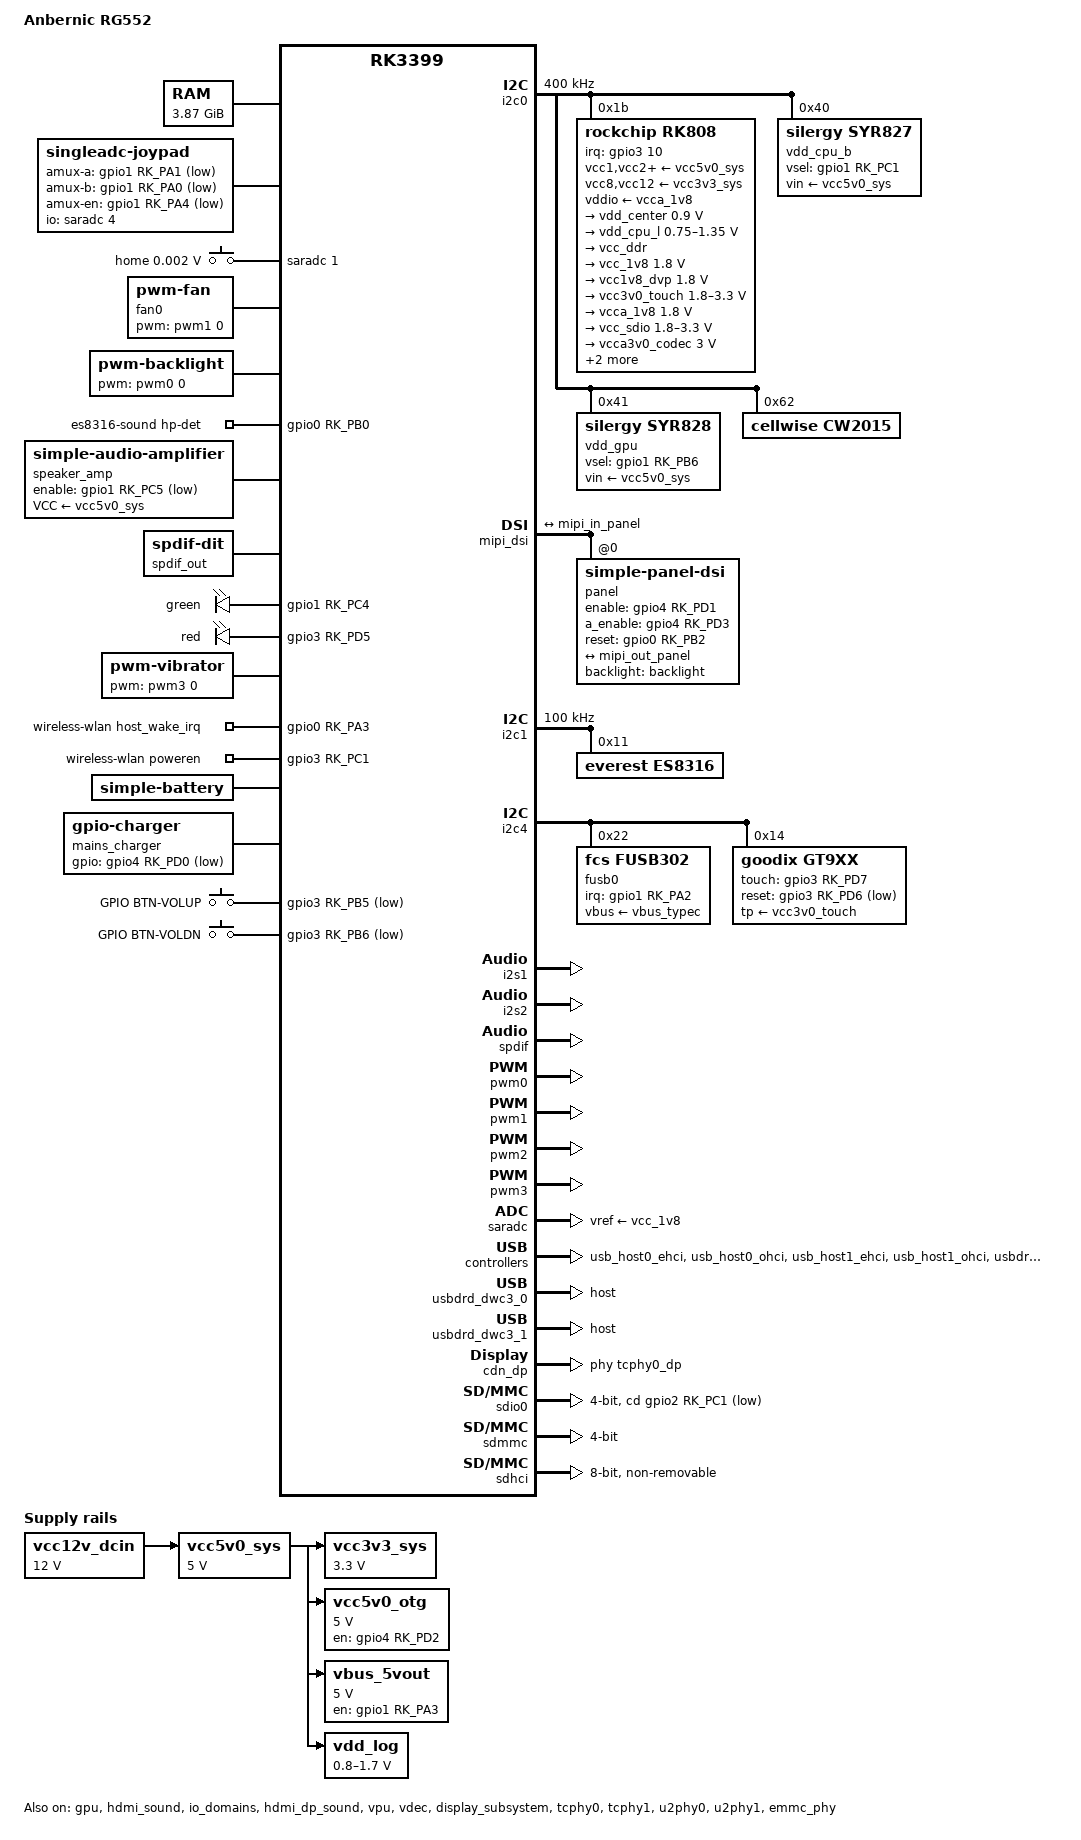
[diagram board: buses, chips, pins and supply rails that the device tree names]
// SPDX-License-Identifier: (GPL-2.0+ OR MIT)
/*
 * Copyright (c) 2017 Fuzhou Rockchip Electronics Co., Ltd.
 * Copyright (c) 2018 Akash Gajjar <Akash_Gajjar@mentor.com>
 * Copyright (c) 2019 Katsuhiro Suzuki <katsuhiro@katsuster.net>
 * Copyright (c) 2021 Romain Tisserand <romain.tisserand@gmail.com>
 */

/dts-v1/;
#include <dt-bindings/input/linux-event-codes.h>
#include <dt-bindings/display/drm_mipi_dsi.h>
#include <dt-bindings/pinctrl/rockchip.h>
#include <dt-bindings/display/rockchip_vop.h>
#include <dt-bindings/usb/pd.h>
#include <dt-bindings/pwm/pwm.h>
#include "rk3399.dtsi"
#include "rk3399-android.dtsi"
#include "rk3399-opp.dtsi"

/ {
	model = "Anbernic RG552";
	compatible = "anbernic,rg552", "rockchip,android", "rockchip,rk3399";

	aliases {
		mmc0 = &sdio0;
		mmc1 = &sdmmc;
		mmc2 = &sdhci;
	};

	memory {
		device_type = "memory";
		reg = <0x0 0x00200000 0x0 0xf7e00000>;
	};

	
	/* first 64k(0xff8c0000~0xff8d0000) for ddr and suspend */
	iram: sram@ff8d0000 {
		compatible = "mmio-sram";
		reg = <0x0 0xff8d0000 0x0 0x20000>; /* 128k */
	};

	joypad: rg552-joypad {
		compatible = "singleadc-joypad";

		joypad-name = "retrogame_joypad";
		joypad-product = <0x1101>;
		joypad-revision = <0x0100>;

		status = "okay";

		/* gpio pincontrol setup */
		pinctrl-names = "default";
		pinctrl-0 = <&btn_pins>;

		/* Analog mux define */
		io-channel-names = "amux_adc";
		io-channels = <&saradc 4>;

		/* adc mux channel count */
		amux-count = <4>;
		/* adc mux select(a,b) gpio */
		amux-a-gpios = <&gpio1 RK_PA1 GPIO_ACTIVE_LOW>;
		amux-b-gpios = <&gpio1 RK_PA0 GPIO_ACTIVE_LOW>;
		/* adc mux enable gpio */
		amux-en-gpios = <&gpio1 RK_PA4 GPIO_ACTIVE_LOW>;

		/* adc calculate scale */
		button-adc-scale = <2>;

		/* adc deadzone range  */
		button-adc-deadzone = <64>;

		/*
		  specifies fuzz value that is used to filter noise from
		  the event stream.
		*/
		button-adc-fuzz = <32>;
		button-adc-flat = <32>;

		/*
		  Analog Stick data tuning value(precent)
		  p = positive direction, n = negative direction
		  report value = (real_adc_data * tuning_value) / 100
		*/
		abs_x-p-tuning = <300>;
		abs_x-n-tuning = <300>;

		abs_y-p-tuning = <300>;
		abs_y-n-tuning = <300>;

		abs_rx-p-tuning = <300>;
		abs_rx-n-tuning = <300>;

		abs_ry-p-tuning = <300>;
		abs_ry-n-tuning = <300>;

		/* poll device interval (ms), adc read interval */
		poll-interval = <10>;

		/* required for RG552(invert) */
		invert-absx;
		invert-absy;

		/* gpio button auto repeat set value : default disable */
		/*
			autorepeat;
		*/

                /*
                               *** RG552 switch layout ***
                |-------------------------------------------------------|
                | sw15(b4) sw21(b6)                   sw20(b7) sw16(b5) |
                |-------------------------------------------------------|
                |        sw19(b12)|-------------------| sw22(b13)       |
                |                 |                   |                 |
                |     sw1(b8)     |                   |     sw8(b2)     |
                |sw3(b10) sw4(b11)|    LCD Display    | sw7(b3) sw5(b1) |
                |     sw2(b9)     |                   |     sw6(b0)     |
                |                 |                   |                 |
                |  sw11(b14)      |-------------------|      sw12(b15)  |
                |                                                       |
                |-------------------------------------------------------|
                */

		sw1 {
		        gpios = <&gpio3 RK_PA0 GPIO_ACTIVE_LOW>;
		        label = "GPIO DPAD-UP";
		        linux,code = <103>;
		};
		sw2 {
		        gpios = <&gpio3 RK_PA1 GPIO_ACTIVE_LOW>;
		        label = "GPIO DPAD-DOWN";
		        linux,code = <108>;
		};
		sw3 {
                        gpios = <&gpio3 RK_PA3 GPIO_ACTIVE_LOW>;
		        label = "GPIO DPAD-LEFT";
		        linux,code = <105>;
		};
		sw4 {
                        gpios = <&gpio3 RK_PA2 GPIO_ACTIVE_LOW>;
		        label = "GPIO DPAD-RIGHT";
		        linux,code = <106>;
		};
		sw5 {
		        gpios = <&gpio3 RK_PA6 GPIO_ACTIVE_LOW>;
		        label = "GPIO KEY BTN-A";
		        linux,code = <304>;
		};
		sw6 {
		        gpios = <&gpio3 RK_PA7 GPIO_ACTIVE_LOW>;
		        label = "GPIO BTN-B";
		        linux,code = <305>;
		};
		sw7 {
		        gpios = <&gpio3 RK_PA5 GPIO_ACTIVE_LOW>;
		        label = "GPIO BTN-Y";
                        linux,code = <308>;
		};
                sw8 {
		        gpios = <&gpio3 RK_PA4 GPIO_ACTIVE_LOW>;
		        label = "GPIO BTN-X";
		        linux,code = <307>;
		};
		sw11 {
                        gpios = <&gpio3 RK_PB3 GPIO_ACTIVE_LOW>;
                        label = "GPIO F3";
                        linux,code = <317>;
		};
		sw12 {
                        gpios = <&gpio3 RK_PB4 GPIO_ACTIVE_LOW>;
                        label = "GPIO F4";
                        linux,code = <318>;
		};

                sw15 {
		        gpios = <&gpio3 RK_PD0 GPIO_ACTIVE_LOW>;
                        label = "GPIO TOP-LEFT";
		        linux,code = <310>;
		};
                sw16 {
		        gpios = <&gpio3 RK_PD2 GPIO_ACTIVE_LOW>;
                        label = "GPIO TOP-RIGHT";
		        linux,code = <311>;
		};
                sw19 {
                        gpios = <&gpio3 RK_PB1 GPIO_ACTIVE_LOW>;
                        label = "GPIO F1";
                        linux,code = <314>;
		};
                sw20 {
		        gpios = <&gpio3 RK_PD3 GPIO_ACTIVE_LOW>;
                        label = "GPIO TOP-RIGHT2";
		        linux,code = <313>;
		};
                sw21 {
                        gpios = <&gpio3 RK_PD1 GPIO_ACTIVE_LOW>;
                        label = "GPIO TOP-LEFT2";
                        linux,code = <312>;
		};
                sw22 {
                        gpios = <&gpio3 RK_PB0 GPIO_ACTIVE_LOW>;
                        label = "GPIO F2";
                        linux,code = <315>;
		};
        };

	adc_keys: adc-keys {
		compatible = "adc-keys";
		io-channels = <&saradc 1>;
		io-channel-names = "buttons";
		keyup-threshold-microvolt = <1800000>;
		poll-interval = <100>;
		
		home-key {
			linux,code = <316>;
			label = "home";
			press-threshold-microvolt = <1750>;
		};
	};

	fan0: pwm-fan {
		compatible = "pwm-fan";
		pwms = <&pwm1 0 10000 1>;
		cooling-min-state = <0>;
		cooling-max-state = <3>;		
		#cooling-cells = <2>;
		cooling-levels = <0 80 170 230>;
	};

	backlight: backlight {
		compatible = "pwm-backlight";
		//power-supply = <&vcc_bl>;
		pwms = <&pwm0 0 25000 0>;
		brightness-levels = <
			  0   1   2   3   4   5   6   7
			  8   9  10  11  12  13  14  15
			 16  17  18  19  20  21  22  23
			 24  25  26  27  28  29  30  31
			 32  33  34  35  36  37  38  39
			 40  41  42  43  44  45  46  47
			 48  49  50  51  52  53  54  55
			 56  57  58  59  60  61  62  63
			 64  65  66  67  68  69  70  71
			 72  73  74  75  76  77  78  79
			 80  81  82  83  84  85  86  87
			 88  89  90  91  92  93  94  95
			 96  97  98  99 100 101 102 103
			104 105 106 107 108 109 110 111
			112 113 114 115 116 117 118 119
			120 121 122 123 124 125 126 127
			128 129 130 131 132 133 134 135
			136 137 138 139 140 141 142 143
			144 145 146 147 148 149 150 151
			152 153 154 155 156 157 158 159
			160 161 162 163 164 165 166 167
			168 169 170 171 172 173 174 175
			176 177 178 179 180 181 182 183
			184 185 186 187 188 189 190 191
			192 193 194 195 196 197 198 199
			200 201 202 203 204 205 206 207
			208 209 210 211 212 213 214 215
			216 217 218 219 220 221 222 223
			224 225 226 227 228 229 230 231
			232 233 234 235 236 237 238 239
			240 241 242 243 244 245 246 247
			248 249 250 251 252 253 254 255>;
		default-brightness-level = <200>;
	};

	es8316-sound {
		compatible = "simple-audio-card";
		simple-audio-card,format = "i2s";
		simple-audio-card,name = "rockchip,es8316-codec";
		simple-audio-card,mclk-fs = <256>;

		simple-audio-card,widgets =
			"Microphone", "Mic Jack",
			"Headphone", "Headphones",
			"Speaker", "Speaker";
		simple-audio-card,routing =
			"MIC1", "Mic Jack",
			"Headphones", "HPOL",
			"Headphones", "HPOR",
			"Speaker Amplifier INL", "HPOL",
			"Speaker Amplifier INR", "HPOR",
			"Speaker", "Speaker Amplifier OUTL",
			"Speaker", "Speaker Amplifier OUTR";

	        simple-audio-card,hp-det-gpio = <&gpio0 RK_PB0 GPIO_ACTIVE_HIGH>;
		simple-audio-card,aux-devs = <&speaker_amp>;
		simple-audio-card,pin-switches = "Speaker";	        			
			
		simple-audio-card,cpu {
            		sound-dai = <&i2s1>;
			system-clock-frequency = <11289600>;
		};
		
		simple-audio-card,codec {
			sound-dai = <&es8316>;
			system-clock-frequency = <11289600>;
		};
	};

	speaker_amp: speaker-amplifier {
		compatible = "simple-audio-amplifier";
	//	pinctrl-names = "default";
	//	pinctrl-0 = <&spk_en>;		
		enable-gpios = <&gpio1 RK_PC5 GPIO_ACTIVE_LOW>;
		sound-name-prefix = "Speaker Amplifier";
		VCC-supply = <&vcc5v0_sys>;
	};

	spdif_sound: spdif-sound {
		status = "disabled";
		compatible = "simple-audio-card";
		simple-audio-card,name = "ROCKCHIP,SPDIF";
		simple-audio-card,cpu {
			sound-dai = <&spdif>;
		};
		simple-audio-card,codec {
			sound-dai = <&spdif_out>;
		};
	};

	spdif_out: spdif-out {
		status = "okay";
		compatible = "linux,spdif-dit";
		#sound-dai-cells = <0>;
	};

	dp_sound: dp-sound {
		status = "okay";
		compatible = "rockchip,cdndp-sound";
		rockchip,cpu = <&spdif>;
		rockchip,codec = <&cdn_dp 1>;
	};
	
/*
	rk_headset: rk-headset {
		compatible = "rockchip_headset";
		headset_gpio = <&gpio0 RK_PB0 GPIO_ACTIVE_HIGH>;
		pinctrl-names = "default";
		pinctrl-0 = <&hp_det>;
		io-channels = <&saradc 2>;
	};
*/
	leds: gpio-leds {
			compatible = "gpio-leds";
			//pinctrl-names = "default";
			//pinctrl-0 =<&leds_gpio>;

			led@1 {
					gpios = <&gpio1 RK_PC4 GPIO_ACTIVE_HIGH>;
					label = "green";
					default-state= "on";
				//	retain-state-suspended;
			};
			
			led@2 {
					gpios = <&gpio3 RK_PD5 GPIO_ACTIVE_HIGH>;
					label = "red";
					default-state= "off";
				//	retain-state-suspended;
			};
			
	};

	vibrator {
		compatible = "pwm-vibrator";
		pwms = <&pwm3 0 1000000 0>;
		pwm-names = "enable";
		direction-duty-cycle-ns = <500000>;		
	};

	wireless-wlan {
		compatible = "wlan-platdata";
		rockchip,grf = <&grf>;
		wifi_chip_type = "rtl8188fu";
		pinctrl-names = "default";
		pinctrl-0 = <&wifi_enable_h>;
		keep_wifi_power_on;
		WIFI,host_wake_irq = <&gpio0 RK_PA3 GPIO_ACTIVE_HIGH>;
		WIFI,poweren_gpio = <&gpio3 RK_PC1 GPIO_ACTIVE_HIGH>;
		status = "okay";
	};
	
	bat: battery {
		compatible = "simple-battery";
		charge-full-design-microamp-hours = <6400000>;
		voltage-max-design-microvolt = <4350000>;
		voltage-min-design-microvolt = <3400000>;
                constant-charge-current-max-microamp = <1500000>;
                constant-charge-voltage-max-microvolt = <4350000>;
                factory-internal-resistance-micro-ohms = <150000>;
                resistance-temp-table = <20 150>;
		
                ocv-capacity-celsius = <20>;
                ocv-capacity-table-0 =	<4308000 100>,<4217000 95>,
					<4161000 90>,<4110000 85>,
					<4066000 80>,<4007000 75>,
					<3974000 70>,<3937000 65>,
					<3896000 60>,<3853000 55>,
					<3827000 50>,<3807000 45>,
					<3793000 40>,<3780000 35>,
					<3768000 30>,<3756000 25>,
					<3740000 20>,<3716000 15>,
					<3689000 10>,<3675000 5>,
					<3400000 0>;
	};

	mains_charger: dc-charger {
		compatible = "gpio-charger";
		charger-type = "mains";
		gpios = <&gpio4 RK_PD0 GPIO_ACTIVE_LOW>;
		pinctrl-names = "default";
		pinctrl-0 = <&dc_det_pin>;
		monitored-battery = <&bat>;
	};

	vcc12v_dcin: vcc12v-dcin {
		compatible = "regulator-fixed";
		regulator-name = "vcc12v_dcin";
		regulator-always-on;
		regulator-boot-on;
		regulator-min-microvolt = <12000000>;
		regulator-max-microvolt = <12000000>;
	};

	vcc3v3_sys: vcc3v3-sys {
		compatible = "regulator-fixed";
		regulator-name = "vcc3v3_sys";
		regulator-always-on;
		regulator-boot-on;
		regulator-min-microvolt = <3300000>;
		regulator-max-microvolt = <3300000>;
		vin-supply = <&vcc5v0_sys>;
	};

	vcc5v0_sys: vcc5v0-sys {
		compatible = "regulator-fixed";
		regulator-name = "vcc5v0_sys";
		regulator-always-on;
		regulator-boot-on;
		regulator-min-microvolt = <5000000>;
		regulator-max-microvolt = <5000000>;
		vin-supply = <&vcc12v_dcin>;
	};

	/* USB 3 port power supply regulator  */
	vcc5v0_otg: vcc5v0-otg {
		compatible = "regulator-fixed";
		enable-active-high;
		gpio = <&gpio4 RK_PD2 GPIO_ACTIVE_HIGH>;
		pinctrl-names = "default";
		pinctrl-0 = <&vcc5v0_host_en>;
		regulator-name = "vcc5v0_otg";
		regulator-always-on;
		regulator-min-microvolt = <5000000>;
		regulator-max-microvolt = <5000000>;
		vin-supply = <&vcc5v0_sys>;

		regulator-state-mem {
			regulator-off-in-suspend;
		};
	};


	/* Regulators supplied by vcc5v0_usb */
	/* Type C port power supply regulator */
	vbus_5vout: vbus_typec: vbus-5vout {
		compatible = "regulator-fixed";
		enable-active-high;
		gpio = <&gpio1 RK_PA3 GPIO_ACTIVE_HIGH>;
		pinctrl-names = "default";
		pinctrl-0 = <&vcc5v0_typec0_en_pin>;
		regulator-name = "vbus_5vout";
		regulator-min-microvolt = <5000000>;
		regulator-max-microvolt = <5000000>;
		vin-supply = <&vcc5v0_sys>;

		regulator-state-mem {
			regulator-off-in-suspend;
		};
	};

	vdd_log: vdd-log {
		compatible = "pwm-regulator";
		pwms = <&pwm2 0 25000 1>;
		rockchip,pwm_id= <2>;
		rockchip,pwm_voltage = <900000>;		
		regulator-name = "vdd_log";
		regulator-always-on;
		regulator-boot-on;
		regulator-min-microvolt = <800000>;
		regulator-max-microvolt = <1700000>;
		vin-supply = <&vcc5v0_sys>;
	};
};

&cpu_l0 {
	cpu-supply = <&vdd_cpu_l>;
};

&cpu_l1 {
	cpu-supply = <&vdd_cpu_l>;
};

&cpu_l2 {
	cpu-supply = <&vdd_cpu_l>;
};

&cpu_l3 {
	cpu-supply = <&vdd_cpu_l>;
};

&cpu_b0 {
	cpu-supply = <&vdd_cpu_b>;
};

&cpu_b1 {
	cpu-supply = <&vdd_cpu_b>;
};

&gpu {
	mali-supply = <&vdd_gpu>;
	status = "okay";
};

&hdmi_sound {
	status = "okay";
};

&i2c0 {
	clock-frequency = <400000>;
	i2c-scl-rising-time-ns = <168>;
	i2c-scl-falling-time-ns = <4>;
	status = "okay";

	rk808: pmic@1b {
		compatible = "rockchip,rk808";
		reg = <0x1b>;
		interrupt-parent = <&gpio3>;
		interrupts = <10 IRQ_TYPE_LEVEL_LOW>;
		#clock-cells = <1>;
		clock-output-names = "rk808-clkout1", "rk808-clkout2";
		pinctrl-names = "default";
		pinctrl-0 = <&pmic_int_l>;
		rockchip,system-power-controller;
		wakeup-source;

		vcc1-supply = <&vcc5v0_sys>;
		vcc2-supply = <&vcc5v0_sys>;
		vcc3-supply = <&vcc5v0_sys>;
		vcc4-supply = <&vcc5v0_sys>;
		vcc6-supply = <&vcc5v0_sys>;
		vcc7-supply = <&vcc5v0_sys>;
		vcc8-supply = <&vcc3v3_sys>;
		vcc9-supply = <&vcc5v0_sys>;
		vcc10-supply = <&vcc5v0_sys>;
		vcc11-supply = <&vcc5v0_sys>;
		vcc12-supply = <&vcc3v3_sys>;
		vcc13-supply = <&vcc5v0_sys>;
		vcc14-supply = <&vcc5v0_sys>;				
		vddio-supply = <&vcca_1v8>;

		rtc {
			status = "okay";
		};

		regulators {
			vdd_center: DCDC_REG1 {
				regulator-name = "vdd_center";
				regulator-min-microvolt = <900000>;
				regulator-max-microvolt = <900000>;
				regulator-ramp-delay = <6001>;
				regulator-always-on;
				regulator-boot-on;
				regulator-state-mem {
					regulator-on-in-suspend;
					regulator-suspend-microvolt = <900000>;					
				};
			};

			vdd_cpu_l: DCDC_REG2 {
				regulator-name = "vdd_cpu_l";
				regulator-min-microvolt = <750000>;
				regulator-max-microvolt = <1350000>;
				regulator-ramp-delay = <6001>;
				regulator-always-on;
				regulator-boot-on;
				regulator-state-mem {
					regulator-off-in-suspend;
				};
			};

			vcc_ddr: DCDC_REG3 {
				regulator-name = "vcc_ddr";
				regulator-always-on;
				regulator-boot-on;
				regulator-state-mem {
					regulator-on-in-suspend;
				};
			};

			vcc_1v8: DCDC_REG4 {
				regulator-name = "vcc_1v8";
				regulator-min-microvolt = <1800000>;
				regulator-max-microvolt = <1800000>;
				regulator-always-on;
				regulator-boot-on;
				regulator-state-mem {
					regulator-on-in-suspend;
					regulator-suspend-microvolt = <1800000>;
				};
			};
				/*LCD power*/
			vcc1v8_dvp: LDO_REG1 {
				regulator-name = "vcc1v8_dvp";
				regulator-min-microvolt = <1800000>;
				regulator-max-microvolt = <1800000>;
				regulator-always-on;
				regulator-boot-on;
				regulator-state-mem {
					regulator-on-in-suspend;
					regulator-suspend-microvolt = <1800000>;
				};
			};

			vcc3v0_touch: LDO_REG2 {
				regulator-name = "vcc3v0_touch";
				regulator-min-microvolt = <1800000>;
				regulator-max-microvolt = <3300000>;
				regulator-always-on;
				regulator-boot-on;
				regulator-state-mem {
					regulator-on-in-suspend;
				};
			};

			vcca_1v8: LDO_REG3 {
				regulator-name = "vcca_1v8";
				regulator-min-microvolt = <1800000>;
				regulator-max-microvolt = <1800000>;
				regulator-always-on;
				regulator-boot-on;
				regulator-state-mem {
					regulator-on-in-suspend;
					regulator-suspend-microvolt = <1800000>;
				};
			};
			/* micro SD card power */
			vcc_sdio: LDO_REG4 {
				regulator-name = "vcc_sdio";
				regulator-min-microvolt = <1800000>;
				regulator-max-microvolt = <3300000>;
				regulator-always-on;
				regulator-boot-on;
				regulator-state-mem {
					regulator-on-in-suspend;
					regulator-suspend-microvolt = <3000000>;
				};
			};

			vcca3v0_codec: LDO_REG5 {
				regulator-name = "vcca3v0_codec";
				regulator-min-microvolt = <3000000>;
				regulator-max-microvolt = <3000000>;
				regulator-always-on;
				regulator-boot-on;
				regulator-state-mem {
					regulator-on-in-suspend;
					regulator-suspend-microvolt = <3000000>;
				};
			};

			vcc_1v5: LDO_REG6 {
				regulator-name = "vcc_1v5";
				regulator-min-microvolt = <1500000>;
				regulator-max-microvolt = <1500000>;
				regulator-always-on;
				regulator-boot-on;
				regulator-state-mem {
					regulator-on-in-suspend;
					regulator-suspend-microvolt = <1500000>;
				};
			};

			vcca1v8_codec: LDO_REG7 {
				regulator-name = "vcca1v8_codec";
				regulator-min-microvolt = <1800000>;
				regulator-max-microvolt = <1800000>;
				regulator-always-on;
				regulator-boot-on;
				regulator-state-mem {
					regulator-on-in-suspend;
					regulator-suspend-microvolt = <1800000>;
				};
			};

			vcc_3v0: LDO_REG8 {
				regulator-name = "vcc_3v0";
				regulator-min-microvolt = <3000000>;
				regulator-max-microvolt = <3000000>;
				regulator-always-on;
				regulator-boot-on;
				regulator-state-mem {
					regulator-on-in-suspend;
					regulator-suspend-microvolt = <3000000>;
				};
			};

			vcc3v3_s3: vcc_lan: SWITCH_REG1 {
				regulator-name = "vcc3v3_s3";
				regulator-always-on;
				regulator-boot-on;
				regulator-state-mem {
					regulator-off-in-suspend;
				};
			};

			vcc3v3_s0: SWITCH_REG2 {
				regulator-name = "vcc3v3_s0";
				regulator-always-on;
				regulator-boot-on;
				regulator-state-mem {
					regulator-off-in-suspend;
				};
			};
		};
	};

	vdd_cpu_b: regulator@40 {
		compatible = "silergy,syr827";
		reg = <0x40>;
		fcs,suspend-voltage-selector = <1>;
		pinctrl-names = "default";
		pinctrl-0 = <&vsel1_pin>;
		vsel-gpios = <&gpio1 RK_PC1 GPIO_ACTIVE_HIGH>;		
		regulator-name = "vdd_cpu_b";
		regulator-min-microvolt = <712500>;
		regulator-max-microvolt = <1500000>;
		regulator-ramp-delay = <40000>;
		regulator-always-on;
		regulator-boot-on;
		vin-supply = <&vcc5v0_sys>;

		regulator-state-mem {
			regulator-off-in-suspend;
		};
	};

	vdd_gpu: regulator@41 {
		compatible = "silergy,syr828";
		reg = <0x41>;
		fcs,suspend-voltage-selector = <1>;
		pinctrl-names = "default";
		pinctrl-0 = <&vsel2_pin>;
		vsel-gpios = <&gpio1 RK_PB6 GPIO_ACTIVE_HIGH>;		
		regulator-name = "vdd_gpu";
		regulator-min-microvolt = <712500>;
		regulator-max-microvolt = <1500000>;
		regulator-ramp-delay = <1000>;
		regulator-always-on;
		regulator-boot-on;
		vin-supply = <&vcc5v0_sys>;

		regulator-state-mem {
			regulator-off-in-suspend;
		};
	};

	cw2015@62 {
		compatible = "cellwise,cw2015";
		reg = <0x62>;
		cellwise,battery-profile = /bits/ 8 <
				   0x15 0x7E 0x66 0x5B 0x58 0x55 0x51 0x4D
				   0x4A 0x47 0x44 0x47 0x4D 0x46 0x32 0x27
				   0x1F 0x1A 0x15 0x16 0x21 0x30 0x3F 0x4A
				   0x46 0x5C 0x0C 0x29 0x19 0x31 0x59 0x74
				   0x7B 0x7D 0x81 0x82 0x3F 0x1A 0x58 0x22
				   0x06 0x42 0x2B 0x63 0x89 0x93 0x94 0x3C
				   0x57 0x7D 0x93 0xAE 0x80 0xC2 0xD2 0xCB
				   0x2F 0x00 0x64 0xA5 0xB5 0x1F 0xB0 0x11
		>;
		cellwise,monitor-interval-ms = <5000>;
		power-supplies = <&mains_charger>;	
		monitored-battery = <&bat>;
	};	
};

&edp {
	/delete-property/pinctrl-names;
	/delete-property/pinctrl-0;
};

&io_domains {
	status = "okay";

	bt656-supply = <&vcc1v8_dvp>;
	audio-supply = <&vcca3v0_codec>;
	sdmmc-supply = <&vcc_sdio>;
	gpio1830-supply = <&vcc_3v0>;
};

&pmu_io_domains {
	pmu1830-supply = <&vcc_3v0>;
	status = "okay";
};

&gpio_keys {
	button@0 {
		label = "GPIO BTN-VOLUP";
			linux,code = <115>;
		gpios = <&gpio3 RK_PB5 GPIO_ACTIVE_LOW>;
	};
	button@1 {
		label = "GPIO BTN-VOLDN";
			linux,code = <114>;
		gpios = <&gpio3 RK_PB6 GPIO_ACTIVE_LOW>;
	};	
};


&mipi_dsi {
	status = "okay";
	
	ports {
		mipi_out: port@1 {
			reg = <1>;

			mipi_out_panel: endpoint {
				remote-endpoint = <&mipi_in_panel>;
			};
		};
	};
	
	panel@0 {
		compatible = "simple-panel-dsi";
		reg = <0>;
		
		backlight = <&backlight>;
		enable-gpios = <&gpio4 RK_PD1 GPIO_ACTIVE_HIGH>;
 		a_enable-gpios = <&gpio4 RK_PD3 GPIO_ACTIVE_HIGH>;
		reset-gpios = <&gpio0 RK_PB2 GPIO_ACTIVE_HIGH>;
		
		pinctrl-names = "default";
		pinctrl-0 = <&lcd_reset_gpio>, <&lcd_en_gpio>;

		rotation = <270>;

		prepare-delay-ms = <2>;
		reset-delay-ms = <150>;
		init-delay-ms = <20>;
		enable-delay-ms = <120>;
		disable-delay-ms = <50>;
		unprepare-delay-ms = <20>;

		/* LCD size */
		width-mm = <69>;
		height-mm = <116>;

		dsi,flags = <(MIPI_DSI_MODE_VIDEO | MIPI_DSI_MODE_VIDEO_BURST |
			      MIPI_DSI_MODE_LPM | MIPI_DSI_CLOCK_NON_CONTINUOUS | 
			      MIPI_DSI_MODE_EOT_PACKET)>;
		dsi,format = <MIPI_DSI_FMT_RGB888>;
		dsi,lanes = <4>;

		panel-init-sequence = [
			39 00 04 B9 FF 83 99
			39 00 2B E0 01 13 17 34 38 3E 2C 47 07 0C 0F 12 14 11 13 12 18 0B 17 07 13 02 14 18 32 37 3D 29 43 07 0E 0C 0F 11 10 12 12 18 0C 17 07 13
			39 00 0D B1 00 7C 38 35 99 09 22 22 72 F2 68 58 
			15 00 02 D2 99
			39 00 20 D3 00 00 00 00 00 30 30 00 10 05 00 05 00 00 00 00 00 00 00 00 00 00 01 07 07 03 00 00 00 05 08
			39 00 21 D5 00 00 01 00 03 02 00 00 00 00 19 00 18 00 21 20 00 18 00 00 00 00 00 00 00 00 32 32 31 31 30 30	
			39 00 21 D6 40 40 02 03 00 01 40 40 40 40 18 40 19 40 20 21 40 18 40 40 40 40 40 40 40 40 32 32 31 31 30 30
			39 00 31 D8 28 2A 00 2A 28 02 C0 2A 00 00 00 00 00 00 00 00 00 00 00 00 00 00 00 00 00 00 00 00 00 00 00 00 00 00 00 00 00 00 00 00 28 02 00 2A 28 02 C0 2A
			39 00 0B B2 00 80 10 7F 05 01 23 4D 21 01
			39 00 29 B4 00 3F 00 41 00 3D 00 00 00 00 00 01 00 0F 01 02 05 40 00 00 3A 00 41 00 3D 00 00 00 00 00 01 00 0F 01 02 05 00 00 00 3A
			39 00 05 BA 03 82 A0 E5
			
			05 78 01 11
			05 78 01 29
		];


		/* 28: DisplayOff */
		/* 10: SleepIn */
		panel-exit-sequence = [
			05 00 01 28
			05 00 01 10
		];

		display-timings {
			native-mode = <&timing0>;

			timing0: timing0 {
				clock-frequency = <150000000>;
				hactive = <1152>;
				vactive = <1920>;
				
				hfront-porch = <64>;
				hsync-len = <4>;
				hback-porch = <32>;
				
				vfront-porch = <56>;
				vsync-len = <3>;
				vback-porch = <6>;
				
				hsync-active = <0>;
				vsync-active = <0>;
				de-active = <0>;
				pixelclk-active = <0>;
			};
		};
		
                port {
                    mipi_in_panel: endpoint {
                            remote-endpoint = <&mipi_out_panel>;
                	};
                };
	};
};

&i2c1 {
	status = "okay";
	clock-frequency = <100000>; ///	clock-frequency = <200000>;
	i2c-scl-rising-time-ns = <300>;
	i2c-scl-falling-time-ns = <15>;

	es8316: es8316@11 {
		#sound-dai-cells = <0>;
		compatible = "everest,es8316";
		reg = <0x11>;
		clocks = <&cru SCLK_I2S_8CH_OUT>;
		clock-names = "mclk";           		
		//spk-con-gpio = <&gpio1 RK_PC5 GPIO_ACTIVE_HIGH>;
		//extcon = <&rk_headset>;		
	};
};

&i2c4 {
	status = "okay";

	fusb0: fusb30x@22 {
		compatible = "fcs,fusb302";
		reg = <0x22>;
		pinctrl-names = "default";
		pinctrl-0 = <&fusb0_int>;			
		interrupt-parent = <&gpio1>;
		interrupts = <RK_PA2 GPIO_ACTIVE_LOW>;
		vbus-supply = <&vbus_typec>;
/*
	usb_con: connector {
			compatible = "usb-c-connector";
			data-role = "dual";
			label = "USB-C";
			op-sink-microwatt = <1000000>;
			power-role = "dual";
			sink-pdos =
				<PDO_FIXED(5000, 2500, PDO_FIXED_USB_COMM)>;
			source-pdos =
				<PDO_FIXED(5000, 1400, PDO_FIXED_USB_COMM)>;
			try-power-role = "sink";

		extcon-cables = <1 2 5 6 9 10 12 44>;
		typec-altmodes = <0xff01 1 0x001c0000 1>;

			ports {
				#address-cells = <1>;
				#size-cells = <0>;

				port@0 {
					reg = <0>;

					usbc_hs: endpoint {
						remote-endpoint =
							<&u2phy0_typec_hs>;
					};
				};

				port@1 {
					reg = <1>;

					usbc_ss: endpoint {
						remote-endpoint =
							<&tcphy0_typec_ss>;
					};
				};

				port@2 {
					reg = <2>;

					usbc_dp: endpoint {
						remote-endpoint =
							<&tcphy0_typec_dp>;
					};
				};
			};
		};*/
	};		

    gt9xx: gt9xx@14 {
        compatible = "goodix,gt9xx";
        reg = <0x14>;
        touch-gpio = <&gpio3 RK_PD7 IRQ_TYPE_EDGE_RISING>;
        reset-gpio = <&gpio3 RK_PD6 GPIO_ACTIVE_LOW>;
		max-x = <1152>;
		max-y = <1920>;
		tp-size = <927>;
 		tp-supply = <&vcc3v0_touch>;		
		status = "okay";
    };
};

&hdmi_dp_sound {
	status = "okay";
};

&i2s1 {
	assigned-clocks = <&cru SCLK_I2SOUT_SRC>;
	assigned-clock-parents = <&cru SCLK_I2S1_8CH>;
	rockchip,i2s-broken-burst-len;
	pinctrl-names = "default";	
	pinctrl-0 = <&i2s_8ch_mclk>, <&i2s1_2ch_bus>;	
	rockchip,capture-channels = <2>;
	rockchip,playback-channels = <2>;
	#sound-dai-cells = <0>;	
	status = "okay";
};

&i2s2 {
	#sound-dai-cells = <0>;
	status = "okay";
};
/*
&dp_in_vopb {
	status = "disabled";
};

&dsi_in_vopb {
	status = "okay";
};

&dsi_in_vopl {
	status = "disabled";
};
*/

&vpu {
	status = "okay";
	/* 0 means ion, 1 means drm */
	//allocator = <0>;
};

&vdec {
	status = "okay";
};


&vopb {
	assigned-clocks = <&cru DCLK_VOP0_DIV>;
	assigned-clock-parents = <&cru PLL_CPLL>;
};

&vopl {
	assigned-clocks = <&cru DCLK_VOP1_DIV>;
	assigned-clock-parents = <&cru PLL_VPLL>;
};

&spdif {
	status = "okay";
	pinctrl-0 = <&spdif_bus>;
	i2c-scl-rising-time-ns = <450>;
	i2c-scl-falling-time-ns = <15>;
	#sound-dai-cells = <0>;
};

&display_subsystem {
	status = "okay";

	route {
		route_hdmi: route-hdmi {
			status = "okay";
			connect = <&vopl_out_hdmi>;
		};

		route_dsi: route-dsi {
			status = "okay";
			connect = <&vopb_out_dsi>;
		};

		route_dp: route-dp {
                        status = "okay";
			connect = <&vopl_out_dp>;
		};
	};
};

/* LCD Backlight PWM */
&pwm0 {
	status = "okay";
};

&pwm1 {
	status = "okay";
};

&pwm2 {
	status = "okay";
	pinctrl-names = "active";
	pinctrl-0 = <&pwm2_pin_pull_down>;
};

&pwm3 {
	status = "okay";
	label = "rumble-pwm";	
};

&saradc {
	vref-supply = <&vcc_1v8>;
	status = "okay";
};

&threshold {
	temperature = <75000>;
};

&target {
	temperature = <80000>;
};

&soc_crit {
	temperature = <85000>;
};

&cooling_maps {
	map3 {
		trip = <&threshold>;
		cooling-device = <&fan0 0 1>;
		contribution = <4096>;
	};
	map4 {
		trip = <&target>;
		cooling-device = <&fan0 1 2>;
		contribution = <4096>;
	};
	map5 {
		trip = <&soc_crit>;
		cooling-device = <&fan0 2 3>;
		contribution = <4096>;
 	};
 };

&tcphy0 {
	status = "okay";
};
/*
&tcphy0_dp {

	port {
		tcphy0_typec_dp: endpoint {
			remote-endpoint = <&usbc_dp>;
		};
	};
};

&tcphy0_usb3 {
	port {
		tcphy0_typec_ss: endpoint {
			remote-endpoint = <&usbc_ss>;
		};
	};
};
*/
&tcphy1 {
	status = "okay";
};

&u2phy0 {
	status = "okay";
	extcon = <&fusb0>;
	
	u2phy0_otg: otg-port {
		status = "okay";
	};

	u2phy0_host: host-port {
		phy-supply = <&vcc5v0_otg>;
		status = "okay";
	};
/*
	port {
		u2phy0_typec_hs: endpoint {
			remote-endpoint = <&usbc_hs>;
		};
	};*/
};

&u2phy1 {
	status = "okay";

	u2phy1_otg: otg-port {
		status = "okay";
	};

	u2phy1_host: host-port {
		phy-supply = <&vcc5v0_otg>;
		status = "okay";
	};
};

&usb_host0_ehci {
	status = "okay";
};

&usb_host0_ohci {
	status = "okay";
};

&usb_host1_ehci {
	status = "okay";
};

&usb_host1_ohci {
	status = "okay";
};

&usbdrd3_0 {
	extcon = <&fusb0>;
	status = "okay";
};

&usbdrd_dwc3_0 {
	dr_mode = "host";
	status = "okay";
	extcon = <&fusb0>;	
};

&usbdrd3_1 {
	status = "okay";
};

&usbdrd_dwc3_1 {
	dr_mode = "host";
	status = "okay";
};

&cdn_dp {
	status = "okay";
	extcon = <&fusb0>;
	phys = <&tcphy0_dp>;
};

/*TF2/EXT mmcblk0*/
&sdio0 {
	clock-frequency = <50000000>;
	max-frequency = <150000000>;
	supports-sd;
	bus-width = <4>;
	disable-wp;
	cap-sd-highspeed;
	cap-sdio-irq;
	keep-power-in-suspend;
	card-detect-delay = <800>;
	cd-gpios = <&gpio2 RK_PC1 GPIO_ACTIVE_LOW>; /*[> CD GPIO <]*/
	num-slots = <1>;
	pinctrl-names = "default";
	pinctrl-0 = <&sdio0_clk &sdio0_cmd &sdio0_cd &sdio0_bus4>;
	sd-uhs-sdr104;
	vqmmc-supply = <&vcc3v0_touch>;
	status = "okay";
};

/*TF1/INT mmcblk1*/
&sdmmc {
	bus-width = <4>;
	cap-sd-highspeed;
	supports-sd;	
	disable-wp;
	num-slots = <1>;
	sd-uhs-sdr104;	
	max-frequency = <150000000>;
	pinctrl-names = "default";
	pinctrl-0 = <&sdmmc_clk &sdmmc_cmd &sdmmc_bus4>;
	vqmmc-supply = <&vcc_sdio>;
	card-detect-delay = <800>;	
	status = "okay";
};


/*EMMC mmcblk2*/
&sdhci {
	bus-width = <8>;
	mmc-hs200-1_8v;
	non-removable;
	status = "okay";
};

&emmc_phy {
	status = "okay";
};


&rockchip_suspend {
	status = "okay";
	rockchip,sleep-debug-en = <1>;
	rockchip,sleep-mode-config = <
		(0
		| RKPM_SLP_ARMPD
		| RKPM_SLP_PERILPPD
		| RKPM_SLP_DDR_RET
		| RKPM_SLP_PLLPD
		| RKPM_SLP_CENTER_PD
		| RKPM_SLP_AP_PWROFF
		)
	>;
	rockchip,wakeup-config = <
		(0
		| RKPM_GPIO_WKUP_EN
		| RKPM_PWM_WKUP_EN
		)
	>;
	rockchip,pwm-regulator-config = <
		(0
		| PWM2_REGULATOR_EN
		)
	>;
	rockchip,power-ctrl =
		<&gpio1 RK_PC1 GPIO_ACTIVE_HIGH>,
		<&gpio1 RK_PB6 GPIO_ACTIVE_HIGH>;
};

&pinctrl {
	buttons {
		pwrbtn: pwrbtn {
			rockchip,pins = <0 RK_PA5 RK_FUNC_GPIO &pcfg_pull_up>;
		};

	btn_pins: btn-pins {
		rockchip,pins = 
				<3 RK_PA0 RK_FUNC_GPIO &pcfg_pull_up>,
				<3 RK_PA1 RK_FUNC_GPIO &pcfg_pull_up>,
				<3 RK_PA2 RK_FUNC_GPIO &pcfg_pull_up>,
				<3 RK_PA3 RK_FUNC_GPIO &pcfg_pull_up>,
				<3 RK_PA6 RK_FUNC_GPIO &pcfg_pull_up>,
				<3 RK_PA7 RK_FUNC_GPIO &pcfg_pull_up>,
				<3 RK_PA4 RK_FUNC_GPIO &pcfg_pull_up>,
				<3 RK_PA5 RK_FUNC_GPIO &pcfg_pull_up>,
				<3 RK_PD0 RK_FUNC_GPIO &pcfg_pull_up>,
				<3 RK_PD1 RK_FUNC_GPIO &pcfg_pull_up>,
				<3 RK_PD2 RK_FUNC_GPIO &pcfg_pull_up>,
				<3 RK_PD3 RK_FUNC_GPIO &pcfg_pull_up>,
				<3 RK_PB3 RK_FUNC_GPIO &pcfg_pull_up>,
				<3 RK_PB4 RK_FUNC_GPIO &pcfg_pull_up>,
				<3 RK_PB0 RK_FUNC_GPIO &pcfg_pull_up>,
				<3 RK_PB1 RK_FUNC_GPIO &pcfg_pull_up>,
				<3 RK_PB5 RK_FUNC_GPIO &pcfg_pull_up>,
				<3 RK_PB6 RK_FUNC_GPIO &pcfg_pull_up>,
				<3 RK_PC0 RK_FUNC_GPIO &pcfg_pull_up>;
		};

	};

	fusb302x {
		fusb0_int: fusb0-int {
			rockchip,pins = <1 RK_PA2 RK_FUNC_GPIO &pcfg_pull_up>;
		};
	};

	dc-charger {
		dc_det_pin: dc-det-pin {
			rockchip,pins = <4 RK_PD0 RK_FUNC_GPIO &pcfg_pull_up>;
		};
	};
/*
	es8316 {
		hp_det_pin: hp-det-pin {
			rockchip,pins = <0 RK_PB0 RK_FUNC_GPIO &pcfg_pull_none>;
		};		
	};

		spk_en: spk-en {
			rockchip,pins = <1 RK_PC5 RK_FUNC_GPIO &pcfg_pull_none>;
		};
*/
	leds {
		work_led_pin: work-led-pin {
			rockchip,pins = <0 RK_PB3 RK_FUNC_GPIO &pcfg_pull_none>;
		};

		diy_led_pin: diy-led-pin {
			rockchip,pins = <0 RK_PA2 RK_FUNC_GPIO &pcfg_pull_none>;
		};
	};

	pmic {
		pmic_int_l: pmic-int-l {
			rockchip,pins = <3 RK_PB2 RK_FUNC_GPIO &pcfg_pull_up>;
		};

		vsel1_pin: vsel1-pin {
			rockchip,pins = <1 RK_PC1 RK_FUNC_GPIO &pcfg_pull_down>;
		};

		vsel2_pin: vsel2-pin {
			rockchip,pins = <1 RK_PB6 RK_FUNC_GPIO &pcfg_pull_down>;
		};
	};

	sdcard {
		sdmmc0_pwr_h: sdmmc0-pwr-h {
			rockchip,pins = <0 RK_PA1 RK_FUNC_GPIO &pcfg_pull_none>;
		};

	};

	wireless-wlan {
		wifi_enable_h: wifi-enable-h {
			rockchip,pins = <3 RK_PC1 RK_FUNC_GPIO &pcfg_pull_none>;
		};
	};

	usb-typec {
		vcc5v0_typec0_en_pin: vcc5v0-typec0-en-pin {
			rockchip,pins = <1 RK_PA3 RK_FUNC_GPIO &pcfg_pull_up>;
		};
	};

	usb2 {
		vcc5v0_host_en: vcc5v0-host-en {
			rockchip,pins = <4 RK_PD2 RK_FUNC_GPIO &pcfg_pull_none>;
		};
	};

	lcd_en {
		lcd_en_gpio: lcd-en-gpio {
			rockchip,pins =
				<4 RK_PD1 RK_FUNC_GPIO &pcfg_pull_up>,
				<4 RK_PD3 RK_FUNC_GPIO &pcfg_pull_up>;
		};
		lcd_reset_gpio: lcd-reset-gpio {
			rockchip,pins =
				<0 RK_PB2 RK_FUNC_GPIO &pcfg_pull_up>;
		};		
	};			

};

